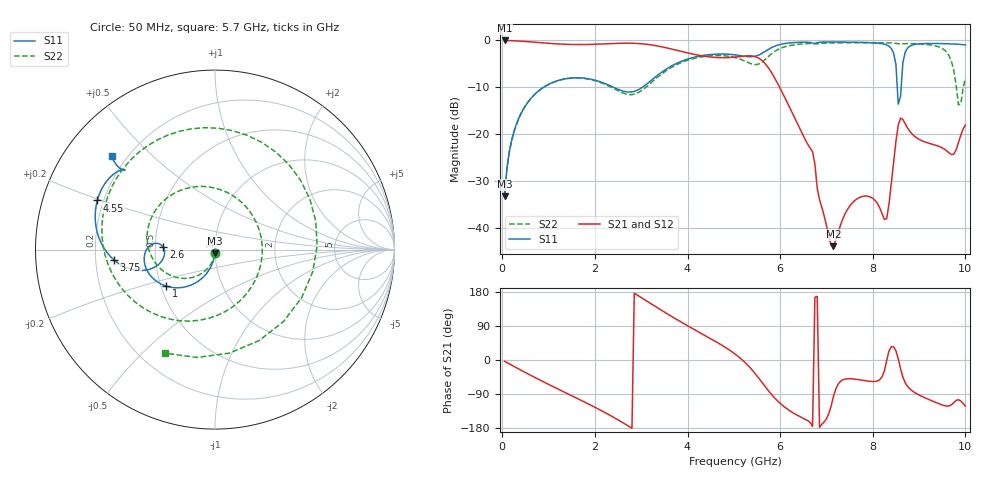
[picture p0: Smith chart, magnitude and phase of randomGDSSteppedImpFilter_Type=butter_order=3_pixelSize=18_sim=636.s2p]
! freq	dB(S11)	phase(S11)	dB(S12)	phase(S12)
!  dB(S21)	phase(S21)	dB(S22)	phase(S22)
!S-par simulation data
#  GHz  S  DB  R 50
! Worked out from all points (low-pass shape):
!   200 points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, 50 MHz to 10 GHz, reference 50 ohm
!   highest |S21| = -0.01 dB at 50 MHz (marker M1); lowest = -43.9 dB at 7.15 GHz (marker M2)
!   |S21| within 3 dB of the highest: start of sweep to 4.16 GHz
!   lowest |S11| = -33.3 dB at 50 MHz (marker M3), VSWR 1.04, Z = 49.8 - j2.16 ohm
!   |S11| at or under -10 dB: start of sweep to 890.7 MHz; 2.403 GHz to 3.023 GHz (619.6 MHz wide, 22.8 % of centre); 8.529 GHz to 8.614 GHz (84.93 MHz wide, 0.991 % of centre)
!   |S22| runs from -33.3 to -0.5 dB; largest |S21 - S12| = 0
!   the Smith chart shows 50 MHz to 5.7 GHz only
!   S11 on the Smith chart (normalised r, x): 50 MHz: 1.00, -0.04; 1 GHz: 0.53, -0.25; 2.6 GHz: 0.55, +0.02; 3.75 GHz: 0.28, -0.05; 4.55 GHz: 0.18, +0.19; 5.7 GHz: 0.14, +0.38
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0.05  -33.30 -92.8  -0.01 -3.4  -0.01 -3.4  -33.31 -93.9
0.35  -16.76 -110.0  -0.13 -23.4  -0.13 -23.4  -16.77 -117.7
1  -9.37 -143.2  -0.62 -64.5  -0.62 -64.5  -9.40 -166.7
1.75  -8.03 -173.7  -0.88 -109.3  -0.88 -109.3  -8.10 134.6
2.6  -10.79 177.4  -0.59 -165.2  -0.59 -165.2  -11.21 32.7
3.4  -7.08 -164.8  -1.27 134.0  -1.27 134.0  -7.47 -109.7
3.75  -4.96 -174.1  -2.06 108.1  -2.06 108.1  -5.24 -151.7
4.55  -2.97 157.3  -3.60 52.9  -3.60 52.9  -3.24 128.3
5.05  -3.11 142.0  -3.52 13.5  -3.52 13.5  -3.71 66.6
5.4  -3.47 138.7  -3.33 -27.0  -3.33 -27.0  -5.06 -12.7
5.7  -2.19 137.7  -5.24 -73.9  -5.24 -73.9  -3.86 -116.0
6.05  -0.75 123.4  -11.19 -119.7  -11.19 -119.7  -1.52 161.8
6.7  -0.54 96.0  -23.75 -175.4  -23.75 -175.4  -0.66 87.9
7.15  -0.34 80.7  -43.90 -96.5  -43.90 -96.5  -0.53 56.3
8.35  -1.24 19.9  -34.91 23.8  -34.91 23.8  -0.53 -13.0
8.5  -5.14 -13.2  -21.53 24.4  -21.53 24.4  -0.63 -21.4
8.6  -11.98 102.5  -16.57 -23.1  -16.57 -23.1  -0.74 -26.1
8.75  -1.65 57.9  -18.66 -69.5  -18.66 -69.5  -0.67 -34.1
9.4  -0.66 11.8  -22.50 -114.0  -22.50 -114.0  -1.29 -82.0
9.7  -0.75 -1.8  -24.35 -118.0  -24.35 -118.0  -4.50 -138.2
9.85  -0.83 -8.5  -21.81 -104.8  -21.81 -104.8  -13.75 125.2
10  -0.94 -15.0  -18.02 -121.8  -18.02 -121.8  -8.02 -12.3
